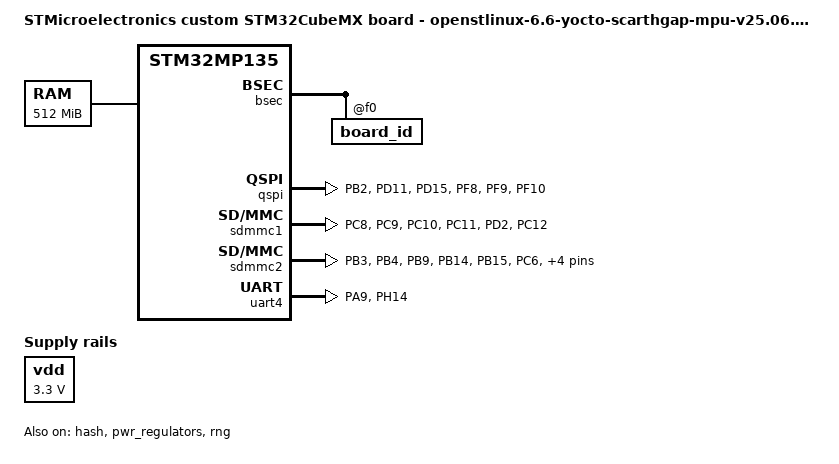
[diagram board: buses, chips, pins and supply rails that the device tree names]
// SPDX-License-Identifier: (GPL-2.0-or-later OR BSD-3-Clause)
/*
 * Copyright (C) 2026, STMicroelectronics - All Rights Reserved
 * Author: STM32CubeMX code generation for STMicroelectronics.
 */

/* For more information on Device Tree configuration, please refer to
 * https://wiki.st.com/stm32mpu/wiki/Category:Device_tree_configuration
 */

/dts-v1/;

#include <dt-bindings/pinctrl/stm32-pinfunc.h>
#include <dt-bindings/clock/stm32mp13-clksrc.h>
#include "stm32mp13-mx.dtsi"

#include "stm32mp135.dtsi"
#include "stm32mp13xf.dtsi"
#include "stm32mp13-ddr.dtsi"

/* USER CODE BEGIN includes */
/* USER CODE END includes */

/ {
	model = "STMicroelectronics custom STM32CubeMX board - openstlinux-6.6-yocto-scarthgap-mpu-v25.06.11";
	compatible = "st,stm32mp135f-thingscore-1-mx", "st,stm32mp135";

	memory@c0000000 {
		device_type = "memory";
		reg = <0xc0000000 0x20000000>;

		/* USER CODE BEGIN memory */
		/* USER CODE END memory */
	};

	/* USER CODE BEGIN root */
	aliases {
		serial0 = &uart4;
	};
	
	chosen {
		stdout-path = "serial0:115200n8";
	};
	
	v3v3_ao:v3v3_ao{
		regulator-name = "v3v3_ao";
		regulator-min-microvolt = <3300000>;
		regulator-max-microvolt = <3300000>;
		regulator-always-on;
	};
	
	vdd: vdd {
		compatible = "regulator-fixed";
		regulator-name = "vdd";
		regulator-min-microvolt = <3300000>;
		regulator-max-microvolt = <3300000>;
		regulator-always-on;
		regulator-over-current-protection;
	};
	
	vddsd: vddsd {
		regulator-name = "vddsd";
		regulator-min-microvolt = <3300000>;
		regulator-max-microvolt = <3300000>;
		regulator-boot-on;
	};
	
	vddcpu: vddcpu {        
		regulator-name = "vddcpu";
		regulator-min-microvolt = <1250000>;
		regulator-max-microvolt = <1250000>;
		regulator-always-on;
		regulator-over-current-protection;
	};
	
	vdd_core: vddcore {          
		  regulator-name = "vdd_core";
		  regulator-min-microvolt = <1250000>;
		  regulator-max-microvolt = <1250000>;
		  regulator-always-on;
	  };
	vdd_ddr: vdd_ddr {       
		regulator-name = "vdd_ddr";
		regulator-min-microvolt = <1350000>;
		regulator-max-microvolt = <1350000>;
		regulator-over-current-protection;
		regulator-always-on;
	};
	vref_ddr: vref_ddr {   
		 regulator-name = "vref_ddr";
		 regulator-always-on;
	 };

	vdd_usb: vdd_usb {    
		 regulator-name = "vdd_usb";
		 regulator-min-microvolt = <3300000>;
		 regulator-max-microvolt = <3300000>;
		 regulator-always-on;
	 };
	/* USER CODE END root */

	clocks {
		/* USER CODE BEGIN clocks */
		/* USER CODE END clocks */

		clk_hsi: clk-hsi {
			clock-frequency = <64000000>;

			/* USER CODE BEGIN clk_hsi */
			/* USER CODE END clk_hsi */
		};
		clk_lse: clk-lse {
			clock-frequency = <32768>;
			st,drive = < LSEDRV_MEDIUM_HIGH >;

			/* USER CODE BEGIN clk_lse */
			/* USER CODE END clk_lse */
		};
		clk_hse: clk-hse {
			clock-frequency = <24000000>;

			/* USER CODE BEGIN clk_hse */
			/* USER CODE END clk_hse */
		};
		clk_i2sin: clk-i2sin {
			status = "disabled";

			/* USER CODE BEGIN clk_i2sin */
			/* USER CODE END clk_i2sin */
		};
	};

}; /*root*/

&pinctrl {
	quadspi_pins_mx: quadspi_mx-0 {
		pins1 {
			pinmux = <STM32_PINMUX('B', 2, AF9)>, /* QUADSPI_BK1_NCS */
					 <STM32_PINMUX('D', 11, AF9)>, /* QUADSPI_BK1_IO2 */
					 <STM32_PINMUX('D', 15, AF9)>, /* QUADSPI_BK1_IO3 */
					 <STM32_PINMUX('F', 8, AF10)>, /* QUADSPI_BK1_IO0 */
					 <STM32_PINMUX('F', 9, AF10)>; /* QUADSPI_BK1_IO1 */
			bias-disable;
			drive-push-pull;
			slew-rate = <1>;
		};
		pins2 {
			pinmux = <STM32_PINMUX('F', 10, AF9)>; /* QUADSPI_CLK */
			bias-disable;
			drive-push-pull;
			slew-rate = <2>;
		};
	};

	sdmmc1_pins_mx: sdmmc1_mx-0 {
		pins1 {
			pinmux = <STM32_PINMUX('C', 8, AF12)>, /* SDMMC1_D0 */
					 <STM32_PINMUX('C', 9, AF12)>, /* SDMMC1_D1 */
					 <STM32_PINMUX('C', 10, AF12)>, /* SDMMC1_D2 */
					 <STM32_PINMUX('C', 11, AF12)>, /* SDMMC1_D3 */
					 <STM32_PINMUX('D', 2, AF12)>; /* SDMMC1_CMD */
			bias-pull-up;
			drive-push-pull;
			slew-rate = <1>;
		};
		pins2 {
			pinmux = <STM32_PINMUX('C', 12, AF12)>; /* SDMMC1_CK */
			bias-pull-up;
			drive-push-pull;
			slew-rate = <3>;
		};
	};

	sdmmc2_pins_mx: sdmmc2_mx-0 {
		pins1 {
			pinmux = <STM32_PINMUX('B', 3, AF10)>, /* SDMMC2_D2 */
					 <STM32_PINMUX('B', 4, AF10)>, /* SDMMC2_D3 */
					 <STM32_PINMUX('B', 9, AF10)>, /* SDMMC2_D5 */
					 <STM32_PINMUX('B', 14, AF10)>, /* SDMMC2_D0 */
					 <STM32_PINMUX('B', 15, AF10)>, /* SDMMC2_D1 */
					 <STM32_PINMUX('C', 6, AF10)>, /* SDMMC2_D6 */
					 <STM32_PINMUX('C', 7, AF10)>, /* SDMMC2_D7 */
					 <STM32_PINMUX('F', 0, AF10)>, /* SDMMC2_D4 */
					 <STM32_PINMUX('G', 6, AF10)>; /* SDMMC2_CMD */
			bias-disable;
			drive-push-pull;
			slew-rate = <1>;
		};
		pins2 {
			pinmux = <STM32_PINMUX('E', 3, AF10)>; /* SDMMC2_CK */
			bias-disable;
			drive-push-pull;
			slew-rate = <3>;
		};
	};

	uart4_pins_mx: uart4_mx-0 {
		pins1 {
			pinmux = <STM32_PINMUX('A', 9, AF8)>; /* UART4_TX */
			bias-disable;
			drive-push-pull;
			slew-rate = <0>;
		};
		pins2 {
			pinmux = <STM32_PINMUX('H', 14, AF8)>; /* UART4_RX */
			bias-disable;
		};
	};

	/* USER CODE BEGIN pinctrl */
	/* USER CODE END pinctrl */
};

&bsec {
	status = "okay";

	/* USER CODE BEGIN bsec */
	board_id:board_id@f0{
		reg = <0xf0 0x4>;
		st,non-secure-otp;
	};
	/* USER CODE END bsec */
};

&hash {
	status = "okay";

	/* USER CODE BEGIN hash */
	/* USER CODE END hash */
};

&pwr_regulators {
	status = "okay";

	/* USER CODE BEGIN pwr_regulators */
	vdd-supply = <&vdd>;
	vdd_3v3_usbfs-supply = <&vdd_usb>;
	/* USER CODE END pwr_regulators */
};

&qspi {
	pinctrl-names = "default";
	pinctrl-0 = <&quadspi_pins_mx>;
	status = "okay";

	/* USER CODE BEGIN qspi */
	/* USER CODE END qspi */
};

&rcc {
	status = "okay";
	st,clksrc = <
		CLK_MPU_PLL1P
		CLK_AXI_PLL2P
		CLK_MLAHBS_HSI
		CLK_CKPER_DISABLED
		CLK_QSPI_PLL4P
		CLK_SDMMC1_PLL4P
		CLK_SDMMC2_PLL4P
		CLK_STGEN_HSI
		CLK_UART4_PCLK1
		CLK_RNG1_CSI
	>;
	st,clkdiv = <
		DIV(DIV_MPU, 1)
		DIV(DIV_AXI, 0)
		DIV(DIV_MLAHB, 0)
		DIV(DIV_APB1, 0)
		DIV(DIV_APB2, 0)
		DIV(DIV_APB3, 0)
		DIV(DIV_APB4, 1)
		DIV(DIV_APB5, 2)
		DIV(DIV_APB6, 0)
	>;
	st,pll_vco {
		pll1_vco_1300Mhz: pll1-vco-1300Mhz {
			src = < CLK_PLL12_HSE >;
			divmn = < 2 80 >;
			frac = < 0x800 >;
		};
		pll2_vco_800Mhz: pll2-vco-800Mhz {
			src = < CLK_PLL12_HSE >;
			divmn = < 2 49 >;
		};
		pll4_vco_400Mhz: pll4-vco-400Mhz {
			src = < CLK_PLL4_HSI >;
			divmn = < 3 24 >;
		};
		/* USER CODE BEGIN rcc_st-pll_vco */
		/* USER CODE END rcc_st-pll_vco */
	};

	pll1:st,pll@0 {
		compatible = "st,stm32mp1-pll";
		reg = <0>;

		st,pll = < &pll1_cfg1 >;

		pll1_cfg1: pll1_cfg1 {
			st,pll_vco = < &pll1_vco_1300Mhz >;
			st,pll_div_pqr = < 0 1 1 >;
		};
		/* USER CODE BEGIN pll1 */
		/* USER CODE END pll1 */
	};

	pll2:st,pll@1 {
		compatible = "st,stm32mp1-pll";
		reg = <1>;

		st,pll = < &pll2_cfg1 >;

		pll2_cfg1: pll2_cfg1 {
			st,pll_vco = < &pll2_vco_800Mhz >;
			st,pll_div_pqr = < 1 1 0 >;
		};
		/* USER CODE BEGIN pll2 */
		/* USER CODE END pll2 */
	};

	pll4:st,pll@3 {
		compatible = "st,stm32mp1-pll";
		reg = <3>;

		st,pll = < &pll4_cfg1 >;

		pll4_cfg1: pll4_cfg1 {
			st,pll_vco = < &pll4_vco_400Mhz >;
			st,pll_div_pqr = < 7 0 24 >;
		};
		/* USER CODE BEGIN pll4 */
		/* USER CODE END pll4 */
	};

	st,rcc{
		status = "okay";

		/* USER CODE BEGIN rcc_st-rcc */
		/* USER CODE END rcc_st-rcc */
	};
};

&rng {
	status = "okay";

	/* USER CODE BEGIN rng */
	/* USER CODE END rng */
};

&sdmmc1 {
	pinctrl-names = "default";
	pinctrl-0 = <&sdmmc1_pins_mx>;
	status = "okay";

	/* USER CODE BEGIN sdmmc1 */
	/* USER CODE END sdmmc1 */
};

&sdmmc2 {
	pinctrl-names = "default";
	pinctrl-0 = <&sdmmc2_pins_mx>;
	status = "okay";

	/* USER CODE BEGIN sdmmc2 */
	/* USER CODE END sdmmc2 */
};

&uart4 {
	pinctrl-names = "default";
	pinctrl-0 = <&uart4_pins_mx>;
	status = "okay";

	/* USER CODE BEGIN uart4 */
	/* USER CODE END uart4 */
};

/* USER CODE BEGIN addons */
&cpu0 {
	cpu-supply = <&vddcpu>;
};

&ddr {
	vref-supply = <&vref_ddr>;
};
/* USER CODE END addons */

